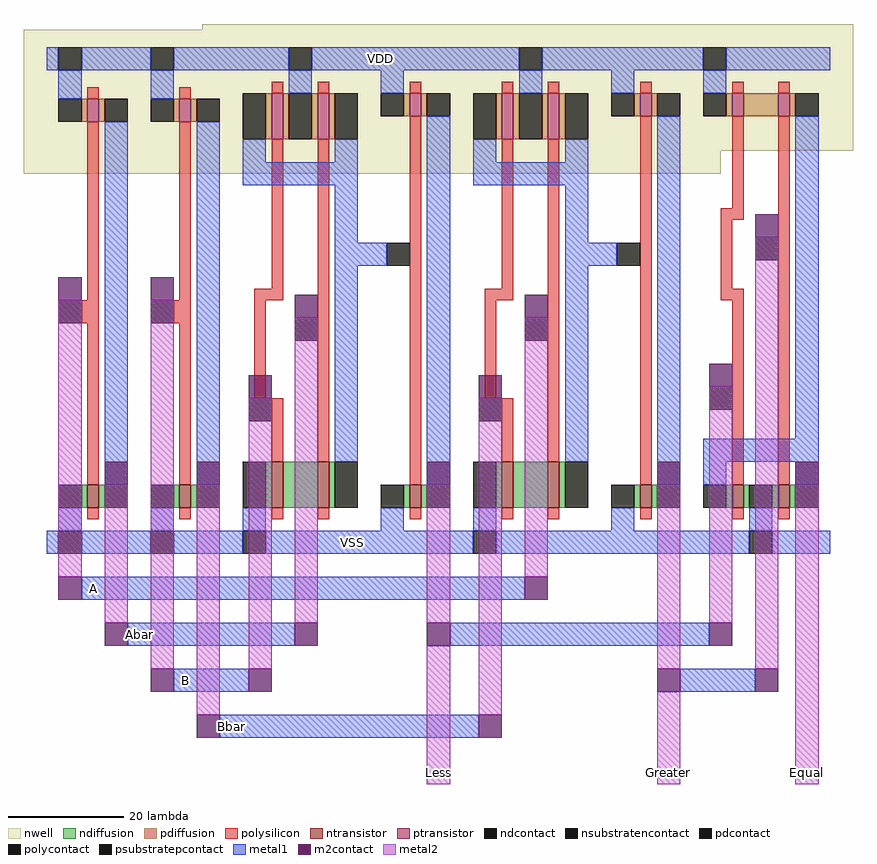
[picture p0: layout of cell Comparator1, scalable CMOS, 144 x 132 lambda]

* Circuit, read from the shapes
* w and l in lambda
.subckt Comparator1 A Abar B Bbar Equal Greater Less VDD VSS
M1 Abar A VSS VSS nfet w=4 l=2
M2 Bbar B VSS VSS nfet w=4 l=2
M3 n1 B VSS VSS nfet w=8 l=2
M4 n2 Abar n1 VSS nfet w=8 l=2
M5 Less n2 VSS VSS nfet w=4 l=2
M6 n3 Bbar VSS VSS nfet w=8 l=2
M7 n4 A n3 VSS nfet w=8 l=2
M8 Greater n4 VSS VSS nfet w=4 l=2
M9 VSS Less Equal VSS nfet w=4 l=2
M10 Equal Greater VSS VSS nfet w=4 l=2
M11 Abar A VDD VDD pfet w=4 l=2
M12 Bbar B VDD VDD pfet w=4 l=2
M13 VDD B n2 VDD pfet w=8 l=2
M14 n2 Abar VDD VDD pfet w=8 l=2
M15 Less n2 VDD VDD pfet w=4 l=2
M16 VDD Bbar n4 VDD pfet w=8 l=2
M17 n4 A VDD VDD pfet w=8 l=2
M18 Greater n4 VDD VDD pfet w=4 l=2
M19 n5 Less VDD VDD pfet w=4 l=2
M20 Equal Greater n5 VDD pfet w=4 l=2
.ends

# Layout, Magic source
magic
tech scmos
<< metal1 >>
rect 57 84 68 88
rect 53 0 60 4
rect 10 -8 87 -4
rect 18 -16 47 -12
rect 74 -16 119 -12
rect 26 -24 39 -20
rect 114 -24 127 -20
rect 34 -32 79 -28
<< m2contact >>
rect 127 55 131 59
rect 6 44 10 48
rect 22 44 26 48
rect 47 41 51 45
rect 87 41 91 45
rect 39 27 43 31
rect 79 27 83 31
rect 119 29 123 33
rect 14 12 18 16
rect 30 12 34 16
rect 70 12 74 16
rect 110 12 114 16
rect 134 12 138 16
rect 6 -8 10 -4
rect 87 -8 91 -4
rect 14 -16 18 -12
rect 47 -16 51 -12
rect 70 -16 74 -12
rect 119 -16 123 -12
rect 22 -24 26 -20
rect 39 -24 43 -20
rect 110 -24 114 -20
rect 127 -24 131 -20
rect 30 -32 34 -28
rect 79 -32 83 -28
<< metal2 >>
rect 6 -4 10 44
rect 14 -12 18 12
rect 22 -20 26 44
rect 30 -28 34 12
rect 39 -20 43 27
rect 47 -12 51 41
rect 70 -12 74 12
rect 70 -40 74 -16
rect 79 -28 83 27
rect 87 -4 91 41
rect 110 -20 114 12
rect 119 -12 123 29
rect 127 -20 131 55
rect 110 -40 114 -24
rect 134 -40 138 12
use NOR2  NOR2_0
transform 1 0 116 0 1 0
box -4 0 28 92
use INV  INV_1
transform 1 0 20 0 1 0
box -4 0 20 91
use INV  INV_0
transform 1 0 4 0 1 0
box -4 0 20 91
use AND2  AND2_1
transform 1 0 76 0 1 0
box -5 0 45 92
use AND2  AND2_0
transform 1 0 36 0 1 0
box -5 0 45 92
<< labels >>
rlabel metal1 12 -6 12 -6 1 A
rlabel metal1 20 -14 20 -14 1 Abar
rlabel metal1 28 -22 28 -22 1 B
rlabel metal1 36 -30 36 -30 1 Bbar
rlabel metal2 72 -38 72 -38 1 Less
rlabel metal2 112 -38 112 -38 1 Greater
rlabel metal1 57 2 57 2 1 VSS
rlabel metal1 62 86 62 86 1 VDD
rlabel metal2 136 -38 136 -38 1 Equal
<< end >>

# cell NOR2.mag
magic
tech scmos
<< nwell >>
rect -4 70 28 92
<< ntransistor >>
rect 7 8 9 12
rect 15 8 17 12
<< ptransistor >>
rect 7 76 9 80
rect 15 76 17 80
<< ndiffusion >>
rect 6 8 7 12
rect 9 8 10 12
rect 14 8 15 12
rect 17 8 18 12
<< pdiffusion >>
rect 6 76 7 80
rect 9 76 15 80
rect 17 76 18 80
<< ndcontact >>
rect 2 8 6 12
rect 10 8 14 12
rect 18 8 22 12
<< pdcontact >>
rect 2 76 6 80
rect 18 76 22 80
<< psubstratepcontact >>
rect 10 0 14 4
<< nsubstratencontact >>
rect 2 84 6 88
<< polysilicon >>
rect 7 80 9 82
rect 15 80 17 82
rect 7 60 9 76
rect 5 58 9 60
rect 5 46 7 58
rect 5 44 9 46
rect 7 12 9 44
rect 15 12 17 76
rect 7 6 9 8
rect 15 6 17 8
<< polycontact >>
rect 11 51 15 55
rect 3 25 7 29
<< metal1 >>
rect 0 84 2 88
rect 6 84 24 88
rect 2 80 6 84
rect 18 20 22 76
rect 2 16 22 20
rect 2 12 6 16
rect 18 12 22 16
rect 10 4 14 8
rect 0 0 10 4
rect 14 0 24 4
<< labels >>
rlabel nsubstratencontact 4 86 4 86 1 VDD
rlabel psubstratepcontact 12 2 12 2 1 VSS
rlabel polycontact 5 27 5 27 1 A
rlabel polycontact 13 53 13 53 1 B
rlabel metal1 20 40 20 40 1 Y
<< end >>

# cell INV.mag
magic
tech scmos
<< nwell >>
rect -4 66 20 91
<< ntransistor >>
rect 7 8 9 12
<< ptransistor >>
rect 7 75 9 79
<< ndiffusion >>
rect 6 8 7 12
rect 9 8 10 12
<< pdiffusion >>
rect 6 75 7 79
rect 9 75 10 79
<< ndcontact >>
rect 2 8 6 12
rect 10 8 14 12
<< pdcontact >>
rect 2 75 6 79
rect 10 75 14 79
<< psubstratepcontact >>
rect 2 0 6 4
<< nsubstratencontact >>
rect 2 84 6 88
<< polysilicon >>
rect 7 79 9 81
rect 7 44 9 75
rect 6 40 9 44
rect 7 12 9 40
rect 7 6 9 8
<< polycontact >>
rect 2 40 6 44
<< metal1 >>
rect 0 84 2 88
rect 6 84 16 88
rect 2 79 6 84
rect 10 12 14 75
rect 2 4 6 8
rect 0 0 2 4
rect 6 0 16 4
<< labels >>
rlabel metal1 1 2 1 2 2 VSS
rlabel metal1 12 17 12 17 1 Y
rlabel metal1 1 86 1 86 4 VDD
rlabel polycontact 4 42 4 42 1 A
<< end >>

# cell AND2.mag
magic
tech scmos
<< nwell >>
rect -5 66 45 92
<< ntransistor >>
rect 7 8 9 16
rect 15 8 17 16
rect 31 8 33 12
<< ptransistor >>
rect 7 72 9 80
rect 15 72 17 80
rect 31 76 33 80
<< ndiffusion >>
rect 6 8 7 16
rect 9 8 15 16
rect 17 8 18 16
rect 30 8 31 12
rect 33 8 34 12
<< pdiffusion >>
rect 6 72 7 80
rect 9 72 10 80
rect 14 72 15 80
rect 17 72 18 80
rect 30 76 31 80
rect 33 76 34 80
<< ndcontact >>
rect 2 8 6 16
rect 18 8 22 16
rect 26 8 30 12
rect 34 8 38 12
<< pdcontact >>
rect 2 72 6 80
rect 10 72 14 80
rect 18 72 22 80
rect 26 76 30 80
rect 34 76 38 80
<< psubstratepcontact >>
rect 2 0 6 4
<< nsubstratencontact >>
rect 10 84 14 88
<< polysilicon >>
rect 7 80 9 82
rect 15 80 17 82
rect 31 80 33 82
rect 7 46 9 72
rect 4 44 9 46
rect 4 27 6 44
rect 7 16 9 27
rect 15 16 17 72
rect 31 12 33 76
rect 7 6 9 8
rect 15 6 17 8
rect 31 6 33 8
<< polycontact >>
rect 11 37 15 41
rect 3 23 7 27
rect 27 50 31 54
<< metal1 >>
rect 0 84 10 88
rect 14 84 40 88
rect 10 80 14 84
rect 26 80 30 84
rect 2 68 6 72
rect 18 68 22 72
rect 2 64 22 68
rect 18 54 22 64
rect 18 50 27 54
rect 18 16 22 50
rect 34 12 38 76
rect 2 4 6 8
rect 26 4 30 8
rect 0 0 2 4
rect 6 0 40 4
<< labels >>
rlabel psubstratepcontact 4 2 4 2 1 VSS
rlabel nsubstratencontact 12 86 12 86 1 VDD
rlabel polycontact 5 25 5 25 1 B
rlabel polycontact 13 39 13 39 1 A
rlabel metal1 36 32 36 32 1 Y
<< end >>
